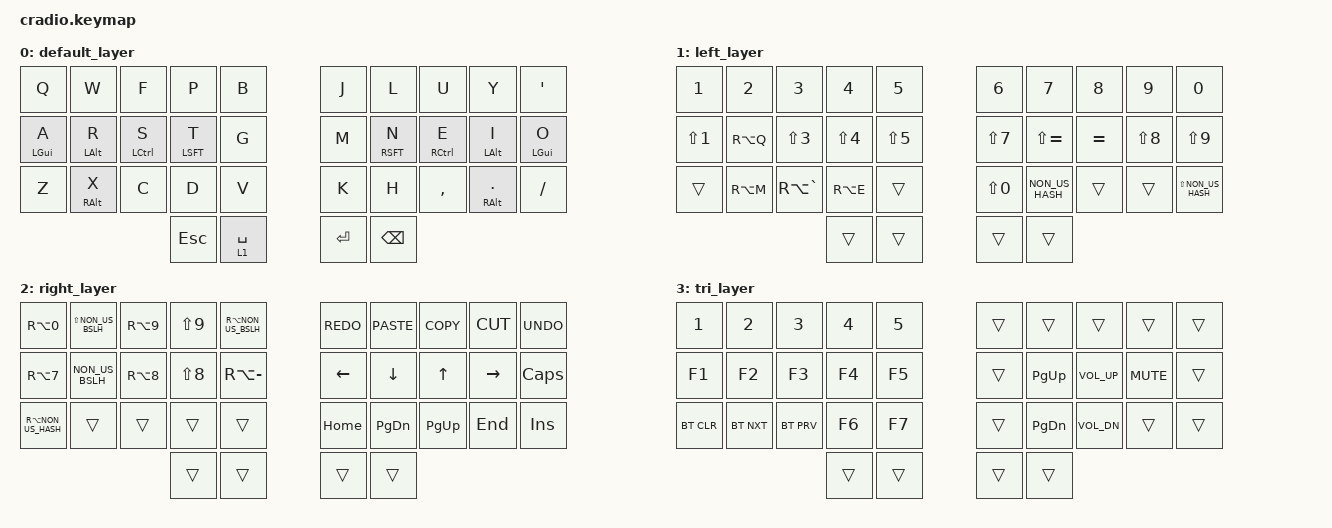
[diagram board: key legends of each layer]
/*
 * Copyright (c) 2020 The ZMK Contributors
 *
 * SPDX-License-Identifier: MIT
 */

#include <behaviors.dtsi>
#include <dt-bindings/zmk/keys.h>
#include <dt-bindings/zmk/bt.h>


&mt {
  //  flavor = "tap-preferred";
   // tapping_term_ms = <200>;
};

/ { 

    combos {
        compatible = "zmk,combos";
         combo_tab {
            timeout-ms = <50>;
            key-positions = <0 10>;
            bindings = <&kp TAB>;
        };
        
    };

        keymap {
                compatible = "zmk,keymap";
                
       		default_layer {
		bindings = <
		&kp Q &kp W &kp F &kp P &kp B 						&kp J &kp L  &kp U    &kp Y   &kp QUOT 
		&mt LGUI A &mt LALT R &mt LCTL S &mt LSFT T &kp G 			        	        &kp M &mt RSFT N &mt RCTL E &mt LALT I &mt LGUI O
		&kp Z &mt RALT X &kp C &kp D &kp V				        &kp K &kp H  &kp CMMA &mt RALT DOT &kp FSLH
          				&kp ESC &lt 1 SPC  				&kp RET &kp BSPC 
		>;
		};

       		left_layer {
		bindings = <
		&kp NUM_1  &kp NUM_2    &kp NUM_3    &kp NUM_4    &kp NUM_5		&kp NUM_6 &kp NUM_7 &kp NUM_8 &kp NUM_9 &kp NUM_0 
        &kp LS(NUM_1) &kp RA(Q) &kp LS(NUM_3)   &kp LS(NUM_4)  &kp LS(NUM_5) 		&kp LS(NUM_7) &kp LS(EQL)  &kp EQL &kp LS(NUM_8)  &kp LS(NUM_9)
		&trans  &kp RA(M) &kp RA(GRAVE) &kp RA(E) &trans 	&kp LS(NUM_0) &kp NON_US_HASH &trans &trans  &kp LS(NON_US_HASH)
          				&trans &trans  				&trans &trans
		>;
		};
		
		right_layer {
		bindings = <
		&kp RA(NUM_0)  &kp LS(NON_US_BSLH) &kp RA(NUM_9)  &kp LS(NUM_9)  &kp RA(NON_US_BSLH)    			&kp K_REDO  &kp K_PASTE &kp K_COPY &kp K_CUT &kp K_UNDO
		&kp RA(NUM_7)  &kp NON_US_BSLH  &kp RA(NUM_8)  &kp LS(NUM_8)  &kp RA(MINUS) 			&kp LEFT &kp DOWN  &kp UP  &kp RIGHT  &kp CAPS
		&kp RA(NON_US_HASH)  &trans &trans &trans   &trans    			&kp HOME &kp PG_DN &kp PG_UP &kp END  &kp INS
          				&trans &trans  				&trans &trans
		>;
		};	
		
		tri_layer {
		bindings = <
		&kp NUM_1  &kp NUM_2    &kp NUM_3    &kp NUM_4    &kp NUM_5 			&trans &trans   &trans   &trans  &trans
		&kp F1 &kp F2 &kp F3 &kp F4 &kp F5  						&trans &kp PG_UP  &kp K_VOL_UP &kp K_MUTE &trans 
		&bt BT_CLR  &bt BT_NXT &bt BT_PRV &kp F6 &kp F7   				&trans &kp PG_DN  &kp K_VOL_DN  &trans &trans   
					 &trans &trans  					&trans &trans 
		>;
		};	
        
	};
};
